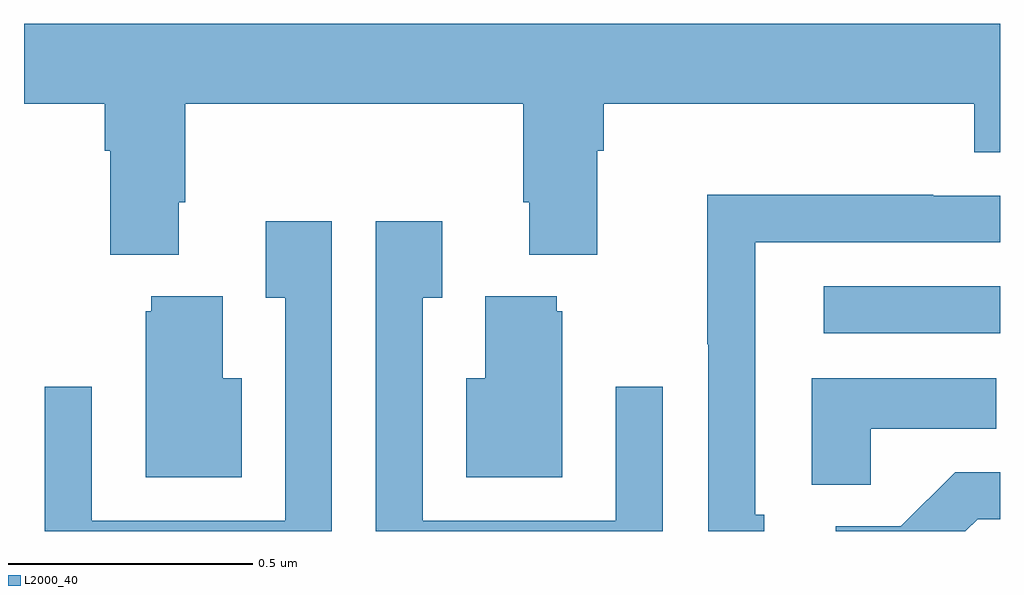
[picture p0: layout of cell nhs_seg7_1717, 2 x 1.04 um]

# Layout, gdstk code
import gdstk
lib = gdstk.Library(unit=1e-6, precision=1e-09)
def R(c, l, rs):  # rectangles x0, y0, x1, y1
    for r in rs: c.add(gdstk.rectangle(r[:2], r[2:], *l))
def P(c, l, *ps):  # polygons
    for p in ps: c.add(gdstk.Polygon(p, *l))
L2000_40 = (2000, 40)

nhs_seg7_1717 = lib.new_cell('nhs_seg7_1717')
R(nhs_seg7_1717, L2000_40, [(135.639,1073.406,136,1073.502)])
P(nhs_seg7_1717, L2000_40, [(134.317,1073.674),(134.33,1073.674),(134.33,1073.876),(135.023,1073.876),(135.023,1073.674),(135.035,1073.674),(135.035,1073.567),(135.175,1073.567),(135.175,1073.78),(135.188,1073.78),(135.188,1073.876),(135.947,1073.876),(135.947,1073.777),(136,1073.777),(136,1074.04),(134,1074.04),(134,1073.876),(134.165,1073.876),(134.165,1073.78),(134.177,1073.78),(134.177,1073.567),(134.317,1073.567)],
  [(135.517,1073.034),(135.498,1073.034),(135.498,1073.592),(136,1073.592),(136,1073.688),(135.863,1073.688),(135.863,1073.69),(135.4,1073.69),(135.4,1073.383),(135.402,1073.383),(135.402,1073),(135.517,1073)],
  [(135.309,1073.296),(135.213,1073.296),(135.213,1073.022),(134.817,1073.022),(134.817,1073.479),(134.857,1073.479),(134.857,1073.635),(134.721,1073.635),(134.721,1073),(135.309,1073)],
  [(134.631,1073.635),(134.495,1073.635),(134.495,1073.479),(134.535,1073.479),(134.535,1073.022),(134.139,1073.022),(134.139,1073.296),(134.043,1073.296),(134.043,1073),(134.631,1073)],
  [(135.103,1073.451),(135.092,1073.451),(135.092,1073.482),(134.945,1073.482),(134.945,1073.314),(134.906,1073.314),(134.906,1073.111),(135.103,1073.111)],
  [(134.446,1073.314),(134.407,1073.314),(134.407,1073.482),(134.261,1073.482),(134.261,1073.451),(134.249,1073.451),(134.249,1073.111),(134.446,1073.111)],
  [(135.735,1073.21),(135.992,1073.21),(135.992,1073.314),(135.614,1073.314),(135.614,1073.095),(135.735,1073.095)],
  [(135.954,1073.025),(136,1073.025),(136,1073.121),(135.908,1073.121),(135.797,1073.01),(135.663,1073.01),(135.663,1073),(135.929,1073)])

lib.write_gds('nhs_seg7_1717.gds')
